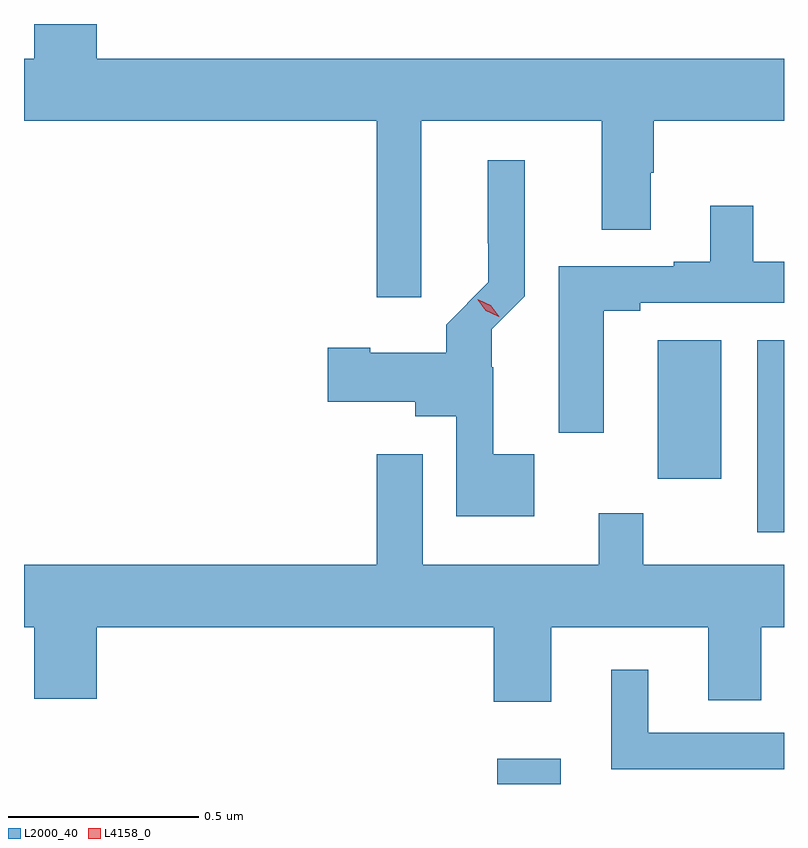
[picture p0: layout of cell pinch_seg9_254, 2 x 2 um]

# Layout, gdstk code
import gdstk
lib = gdstk.Library(unit=1e-6, precision=1e-09)
def R(c, l, rs):  # rectangles x0, y0, x1, y1
    for r in rs: c.add(gdstk.rectangle(r[:2], r[2:], *l))
def P(c, l, *ps):  # polygons
    for p in ps: c.add(gdstk.Polygon(p, *l))
L2000_40 = (2000, 40)
L4158_0 = (4158, 0)

pinch_seg9_254 = lib.new_cell('pinch_seg9_254')
R(pinch_seg9_254, L2000_40, [(453.938,1215.987,454.105,1216.054), (454.622,1216.649,454.693,1217.155), (454.361,1216.79,454.528,1217.155)])
P(pinch_seg9_254, L2000_40, [(453.739,1217.732),(454.214,1217.732),(454.214,1217.445),(454.342,1217.445),(454.342,1217.596),(454.35,1217.596),(454.35,1217.732),(454.693,1217.732),(454.693,1217.896),(452.884,1217.896),(452.884,1217.987),(452.72,1217.987),(452.72,1217.896),(452.693,1217.896),(452.693,1217.732),(453.621,1217.732),(453.621,1217.268),(453.739,1217.268)],
  [(454.036,1216.855),(453.928,1216.855),(453.928,1217.084),(453.924,1217.084),(453.924,1217.184),(454.011,1217.271),(454.011,1217.629),(453.914,1217.629),(453.914,1217.41),(453.915,1217.41),(453.915,1217.307),(453.804,1217.196),(453.804,1217.122),(453.604,1217.122),(453.604,1217.135),(453.492,1217.135),(453.492,1216.993),(453.722,1216.993),(453.722,1216.955),(453.831,1216.955),(453.831,1216.691),(454.036,1216.691)],
  [(454.219,1217.233),(454.315,1217.233),(454.315,1217.253),(454.693,1217.253),(454.693,1217.362),(454.612,1217.362),(454.612,1217.509),(454.499,1217.509),(454.499,1217.362),(454.403,1217.362),(454.403,1217.349),(454.1,1217.349),(454.1,1216.911),(454.219,1216.911)],
  [(454.323,1216.699),(454.205,1216.699),(454.205,1216.564),(453.742,1216.564),(453.742,1216.855),(453.621,1216.855),(453.621,1216.564),(452.693,1216.564),(452.693,1216.4),(452.72,1216.4),(452.72,1216.212),(452.884,1216.212),(452.884,1216.4),(453.929,1216.4),(453.929,1216.203),(454.081,1216.203),(454.081,1216.4),(454.493,1216.4),(454.493,1216.207),(454.633,1216.207),(454.633,1216.4),(454.693,1216.4),(454.693,1216.564),(454.323,1216.564)],
  [(454.693,1216.122),(454.336,1216.122),(454.336,1216.288),(454.238,1216.288),(454.238,1216.026),(454.693,1216.026)])
P(pinch_seg9_254, L4158_0, [(453.942,1217.216),(453.908,1217.232),(453.887,1217.262),(453.887,1217.263),(453.887,1217.263),(453.921,1217.247),(453.943,1217.216),(453.943,1217.216)])

lib.write_gds('pinch_seg9_254.gds')
